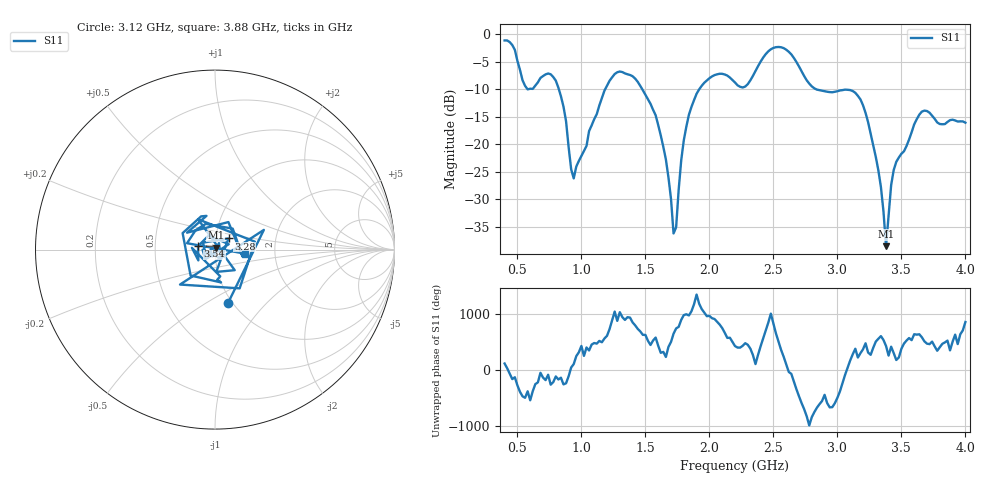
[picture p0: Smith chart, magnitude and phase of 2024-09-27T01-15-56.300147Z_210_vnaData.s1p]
!Created with skrf (http://scikit-rf.org).
# Hz S RI R 50.0
!freq ReS11 ImS11
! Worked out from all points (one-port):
!   181 points, 400 MHz to 4 GHz, reference 50 ohm
!   lowest |S11| = -38.5 dB at 3.38 GHz (marker M1), VSWR 1.02, Z = 50.4 + j1.14 ohm
!   |S11| at or under -10 dB: 823.8 MHz to 1.186 GHz (362 MHz wide, 36 % of centre); 1.476 GHz to 1.921 GHz (445.2 MHz wide, 26.2 % of centre); 2.834 GHz to end of sweep (the widest 3 of 4)
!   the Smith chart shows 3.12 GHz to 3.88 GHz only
!   S11 on the Smith chart (normalised r, x): 3.12 GHz: 0.96, -0.63; 3.28 GHz: 1.15, +0.15; 3.54 GHz: 0.83, +0.03; 3.88 GHz: 1.39, -0.06
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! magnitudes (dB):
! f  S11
! 400 MHz  -1.1
! 580 MHz  -10.0
! 760 MHz  -7.3
! 860 MHz  -13.2
! 940 MHz  -26.2
! 1.18 GHz  -10.3
! 1.3 GHz  -6.8
! 1.58 GHz  -14.7
! 1.66 GHz  -22.7
! 1.72 GHz  -36.2
! 1.76 GHz  -28.2
! 1.82 GHz  -16.8
! 1.9 GHz  -10.8
! 2.2 GHz  -8.8
! 2.5 GHz  -2.5
! 2.66 GHz  -4.3
! 2.82 GHz  -9.8
! 3.1 GHz  -10.1
! 3.12 GHz  -10.3
! 3.28 GHz  -20.2
! 3.34 GHz  -27.7
! 3.38 GHz  -38.5
! 3.44 GHz  -24.6
! 3.54 GHz  -20.3
! 3.56 GHz  -19.1
! 3.66 GHz  -14.1
! 3.88 GHz  -15.6
! 4 GHz  -16.1
